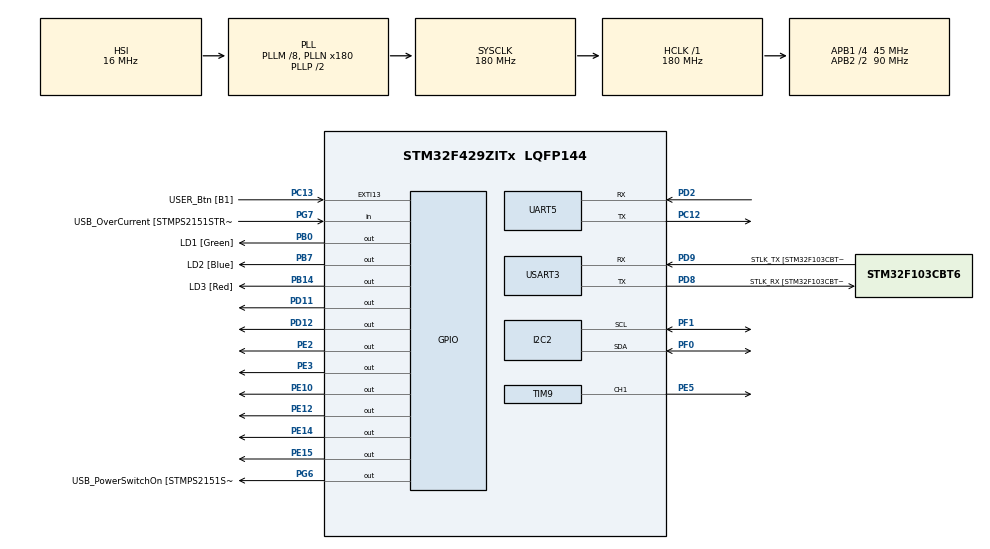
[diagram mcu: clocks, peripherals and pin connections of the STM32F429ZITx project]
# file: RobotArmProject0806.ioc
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Mcu.Family=STM32F4
Mcu.Name=STM32F429ZITx
Mcu.Package=LQFP144
NVIC.PriorityGroup=NVIC_PRIORITYGROUP_4
NVIC.TIM1_BRK_TIM9_IRQn=true\:0\:0\:false\:false\:true\:true\:true\:true
PA1.GPIO_Label=RMII_REF_CLK [LAN8742A-CZ-TR_REFCLK0]
PA1.Signal=ETH_REF_CLK
PA10.GPIO_Label=USB_ID
PA10.Signal=USB_OTG_FS_ID
PA11.GPIO_Label=USB_DM
PA11.Signal=USB_OTG_FS_DM
PA12.GPIO_Label=USB_DP
PA12.Signal=USB_OTG_FS_DP
PA13.GPIO_Label=TMS
PA13.Mode=Serial_Wire
PA13.Signal=SYS_JTMS-SWDIO
PA14.GPIO_Label=TCK
PA14.Mode=Serial_Wire
PA14.Signal=SYS_JTCK-SWCLK
PA2.GPIO_Label=RMII_MDIO [LAN8742A-CZ-TR_MDIO]
PA2.Signal=ETH_MDIO
PA7.GPIO_Label=RMII_CRS_DV [LAN8742A-CZ-TR_CRS_DV]
PA7.Signal=ETH_CRS_DV
PA8.GPIO_Label=USB_SOF [TP1]
PA8.Signal=USB_OTG_FS_SOF
PA9.GPIO_Label=USB_VBUS
PA9.Signal=USB_OTG_FS_VBUS
PB0.GPIO_Label=LD1 [Green]
PB0.Signal=GPIO_Output
PB13.GPIO_Label=RMII_TXD1 [LAN8742A-CZ-TR_TXD1]
PB13.Signal=ETH_TXD1
PB14.GPIO_Label=LD3 [Red]
PB14.Signal=GPIO_Output
PB7.GPIO_Label=LD2 [Blue]
PB7.Signal=GPIO_Output
PC1.GPIO_Label=RMII_MDC [LAN8742A-CZ-TR_MDC]
PC1.Signal=ETH_MDC
PC12.Mode=Asynchronous
PC12.Signal=UART5_TX
PC13.GPIO_Label=USER_Btn [B1]
PC13.Signal=GPXTI13
PC14/OSC32_IN.Mode=LSE-External-Oscillator
PC14/OSC32_IN.Signal=RCC_OSC32_IN
PC15/OSC32_OUT.Mode=LSE-External-Oscillator
PC15/OSC32_OUT.Signal=RCC_OSC32_OUT
PC4.GPIO_Label=RMII_RXD0 [LAN8742A-CZ-TR_RXD0]
PC4.Signal=ETH_RXD0
PC5.GPIO_Label=RMII_RXD1 [LAN8742A-CZ-TR_RXD1]
PC5.Signal=ETH_RXD1
PD11.Signal=GPIO_Output
PD12.Signal=GPIO_Output
PD2.Mode=Asynchronous
PD2.Signal=UART5_RX
PD8.GPIO_Label=STLK_RX [STM32F103CBT6_PA3]
PD8.Mode=Asynchronous
PD8.Signal=USART3_TX
PD9.GPIO_Label=STLK_TX [STM32F103CBT6_PA2]
PD9.Mode=Asynchronous
PD9.Signal=USART3_RX
PE10.Signal=GPIO_Output
PE12.Signal=GPIO_Output
PE14.Signal=GPIO_Output
PE15.Signal=GPIO_Output
PE2.Signal=GPIO_Output
PE3.Signal=GPIO_Output
PE5.Signal=S_TIM9_CH1
PF0.Mode=I2C
PF0.Signal=I2C2_SDA
PF1.Mode=I2C
PF1.Signal=I2C2_SCL
PG11.GPIO_Label=RMII_TX_EN [LAN8742A-CZ-TR_TXEN]
PG11.Signal=ETH_TX_EN
PG13.GPIO_Label=RMII_TXD0 [LAN8742A-CZ-TR_TXD0]
PG13.Signal=ETH_TXD0
PG6.GPIO_Label=USB_PowerSwitchOn [STMPS2151STR_EN]
PG6.Signal=GPIO_Output
PG7.GPIO_Label=USB_OverCurrent [STMPS2151STR_FAULT]
PG7.Signal=GPIO_Input
PH0/OSC_IN.GPIO_Label=MCO [STM32F103CBT6_PA8]
PH0/OSC_IN.Signal=RCC_OSC_IN
ProjectManager.HeapSize=0x200
ProjectManager.StackSize=0x400
ProjectManager.TargetToolchain=MDK-ARM V5.32
RCC.48MHZClocksFreq_Value=51428571.428571425
RCC.AHBFreq_Value=180000000
RCC.APB1CLKDivider=RCC_HCLK_DIV4
RCC.APB1Freq_Value=45000000
RCC.APB1TimFreq_Value=90000000
RCC.APB2CLKDivider=RCC_HCLK_DIV2
RCC.APB2Freq_Value=90000000
RCC.APB2TimCLKDivider=2
RCC.APB2TimFreq_Value=180000000
RCC.CortexFreq_Value=180000000
RCC.HCLKFreq_Value=180000000
RCC.HSE_VALUE=8000000
RCC.HSI_VALUE=16000000
RCC.PLLM=8
RCC.PLLMUL=RCC_PLL_MUL9
RCC.PLLN=180
RCC.PLLQ=7
RCC.PRESCALERUSB=RCC_USBCLKSOURCE_PLL_DIV1_5
RCC.SYSCLKFreq_VALUE=180000000
RCC.SYSCLKSource=RCC_SYSCLKSOURCE_PLLCLK
RCC.SYSCLKSourceVirtual=RCC_SYSCLKSOURCE_PLLCLK
RCC.USBFreq_Value=48000000
RCC.VCOOutputFreq_Value=360000000
SH.S_TIM9_CH1.0=TIM9_CH1,PWM Generation1 CH1
TIM9.Channel-PWM\ Generation1\ CH1=TIM_CHANNEL_1
TIM9.Period=10000-1
TIM9.Prescaler=84-1
TIM9.Pulse-PWM\ Generation1\ CH1=5000
UART5.VirtualMode=Asynchronous
USART3.VirtualMode=VM_ASYNC
VP_RTC_VS_RTC_Activate.Mode=RTC_Enabled
VP_TIM9_VS_ClockSourceINT.Mode=Internal
board=NUCLEO-F429ZI

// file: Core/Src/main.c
/* USER CODE BEGIN Header */
/**
  ******************************************************************************
  * @file           : main.c
  * @brief          : Main program body
  ******************************************************************************
  * @attention
  *
  * Copyright (c) 2022 STMicroelectronics.
  * All rights reserved.
  *
  * This software is licensed under terms that can be found in the LICENSE file
  * in the root directory of this software component.
  * If no LICENSE file comes with this software, it is provided AS-IS.
  *
  ******************************************************************************
  */
/* USER CODE END Header */
#include "main.h"

/* USER CODE BEGIN Includes */
#include "pca9685.h"

/* USER CODE END Includes */

I2C_HandleTypeDef hi2c2;

RTC_HandleTypeDef hrtc;

TIM_HandleTypeDef htim9;

UART_HandleTypeDef huart5;
UART_HandleTypeDef huart3;

/* USER CODE BEGIN PV */
#define DcMotor1Enable() HAL_GPIO_WritePin(GPIOE, GPIO_PIN_2,0)
#define DcMotor1Disable() HAL_GPIO_WritePin(GPIOE, GPIO_PIN_2,1)
#define DcMotor1DirCw() HAL_GPIO_WritePin(GPIOE, GPIO_PIN_3,0)
#define DcMotor1DirCcw() HAL_GPIO_WritePin(GPIOE, GPIO_PIN_3,1)

#define DcPIND_11ON() HAL_GPIO_WritePin(GPIOD, GPIO_PIN_11,1)
#define DcPIND_11OFF() HAL_GPIO_WritePin(GPIOD, GPIO_PIN_11,0)
#define DcPIND_12ON() HAL_GPIO_WritePin(GPIOD, GPIO_PIN_12,1)
#define DcPIND_12OFF() HAL_GPIO_WritePin(GPIOD, GPIO_PIN_12,0)

uint8_t ActiveServo; // add 0723

/* USER CODE END PV */

void SystemClock_Config(void);
static void MX_GPIO_Init(void);
static void MX_I2C2_Init(void);
static void MX_RTC_Init(void);
static void MX_TIM9_Init(void);
static void MX_UART5_Init(void);
static void MX_USART3_UART_Init(void);

int main(void)
{

  /* MCU Configuration--------------------------------------------------------*/

  /* Reset of all peripherals, Initializes the Flash interface and the Systick. */
  HAL_Init();

  /* Configure the system clock */
  SystemClock_Config();

  /* Initialize all configured peripherals */
  MX_GPIO_Init();
  MX_I2C2_Init();
  MX_RTC_Init();
  MX_TIM9_Init();
  MX_UART5_Init();
  MX_USART3_UART_Init();
  /* USER CODE BEGIN 2 */
  uint8_t data;
  HAL_TIM_PWM_Start(&htim9, TIM_CHANNEL_1);
  PCA9685_Init(&hi2c2); //add 0723
  PCA9685_SetServoAngle(0, 0); //add 0723
  PCA9685_SetServoAngle(1, 0); //add 0723
  PCA9685_SetServoAngle(2, 0); //add 0723
  HAL_Delay(1000); // add 0723
  HAL_GPIO_WritePin (GPIOE, GPIO_PIN_10, GPIO_PIN_RESET);   // IN1 HIGH
  HAL_GPIO_WritePin (GPIOE, GPIO_PIN_12, GPIO_PIN_RESET);
  HAL_GPIO_WritePin (GPIOE, GPIO_PIN_14, GPIO_PIN_RESET);
  HAL_GPIO_WritePin (GPIOE, GPIO_PIN_15, GPIO_PIN_RESET);

  /* USER CODE END 2 */

  /* Infinite loop */
  /* USER CODE BEGIN WHILE */
  while (1)
  {

			// for go
			DcMotor1DirCw(); // AIN -> 0 // dc sipza driver
      			DcMotor1Disable(); // Bin->1 // dc sipza driver

			//HAL_Delay(5000);
		  	// for stop
			//DcMotor1Disable(); // 1
			//DcMotor1DirCcw();  // 1
			//HAL_Delay(500);

			// for pwm
			TIM9->CCR1=2150; // -> 3500~4000 dc motor pwm for NasaDrive
			//////////////////////////////////////////

		// for go about conveyor
		DcPIND_11ON(); // PIN 11 ON
		DcPIND_12OFF(); // PIN 12 OFF
		HAL_Delay(2000);
		// for stop about conveyor
		DcPIND_11ON();
		DcPIND_12ON();
		HAL_Delay(2000);

		//for uart
		HAL_UART_Receive(&huart5, &data, sizeof(data),10);

		if( data =='1')
		{

		  PCA9685_SetServoAngle(0, 30);
		  HAL_Delay(3000);
		  PCA9685_SetServoAngle(0, 50);
		  HAL_Delay(3000);
		  PCA9685_SetServoAngle(0, -70);
		  HAL_Delay(3000);
		}

		else if( data =='2')
		{
			///////
	  	}
		else if( data =='3' )
		{
			PCA9685_SetServoAngle(2, 60);
			HAL_Delay(3000);
			PCA9685_SetServoAngle(2, 90);
			HAL_Delay(3000);
		}

	for (int i=0; i<128; i++)   // for 360 deg rotation
	{
 		HAL_GPIO_WritePin (GPIOE, GPIO_PIN_10, GPIO_PIN_SET);   // IN1 HIGH
 		HAL_GPIO_WritePin (GPIOE, GPIO_PIN_12, GPIO_PIN_RESET);
 		HAL_GPIO_WritePin (GPIOE, GPIO_PIN_14, GPIO_PIN_RESET);
 		HAL_GPIO_WritePin (GPIOE, GPIO_PIN_15, GPIO_PIN_RESET);

 		HAL_Delay (2);

 		HAL_GPIO_WritePin (GPIOE, GPIO_PIN_10, GPIO_PIN_RESET);
 		HAL_GPIO_WritePin (GPIOE, GPIO_PIN_12, GPIO_PIN_SET);   // IN2 HIGH
 		HAL_GPIO_WritePin (GPIOE, GPIO_PIN_14, GPIO_PIN_RESET);
 		HAL_GPIO_WritePin (GPIOE, GPIO_PIN_15, GPIO_PIN_RESET);

 		HAL_Delay (2);

 		HAL_GPIO_WritePin (GPIOE, GPIO_PIN_10, GPIO_PIN_RESET);
 		HAL_GPIO_WritePin (GPIOE, GPIO_PIN_12, GPIO_PIN_RESET);
 		HAL_GPIO_WritePin (GPIOE, GPIO_PIN_14, GPIO_PIN_SET);   // IN3 HIGH
 		HAL_GPIO_WritePin (GPIOE, GPIO_PIN_15, GPIO_PIN_RESET);

 		HAL_Delay (2);

 		HAL_GPIO_WritePin (GPIOE, GPIO_PIN_10, GPIO_PIN_RESET);
 		HAL_GPIO_WritePin (GPIOE, GPIO_PIN_12, GPIO_PIN_RESET);
 		HAL_GPIO_WritePin (GPIOE, GPIO_PIN_14, GPIO_PIN_RESET);
 		HAL_GPIO_WritePin (GPIOE, GPIO_PIN_15, GPIO_PIN_SET);    // IN4 HIGH

 		HAL_Delay (2);
		}

		PCA9685_SetServoAngle(2, 60);
		HAL_Delay(3000);
		PCA9685_SetServoAngle(2, 90);
		HAL_Delay(3000);
		PCA9685_SetServoAngle(0, 50);
		HAL_Delay(3000);
		PCA9685_SetServoAngle(0, -70);
		HAL_Delay(3000);

	/////////////////////////////////////////

    /* USER CODE END WHILE */

  }
}

void SystemClock_Config(void)
{
  RCC_OscInitTypeDef RCC_OscInitStruct = {0};
  RCC_ClkInitTypeDef RCC_ClkInitStruct = {0};

  /** Configure the main internal regulator output voltage
  */
  __HAL_RCC_PWR_CLK_ENABLE();
  __HAL_PWR_VOLTAGESCALING_CONFIG(PWR_REGULATOR_VOLTAGE_SCALE1);

  /** Initializes the RCC Oscillators according to the specified parameters
  * in the RCC_OscInitTypeDef structure.
  */
  RCC_OscInitStruct.OscillatorType = RCC_OSCILLATORTYPE_HSI|RCC_OSCILLATORTYPE_LSI;
  RCC_OscInitStruct.HSIState = RCC_HSI_ON;
  RCC_OscInitStruct.HSICalibrationValue = RCC_HSICALIBRATION_DEFAULT;
  RCC_OscInitStruct.LSIState = RCC_LSI_ON;
  RCC_OscInitStruct.PLL.PLLState = RCC_PLL_ON;
  RCC_OscInitStruct.PLL.PLLSource = RCC_PLLSOURCE_HSI;
  RCC_OscInitStruct.PLL.PLLM = 8;
  RCC_OscInitStruct.PLL.PLLN = 180;
  RCC_OscInitStruct.PLL.PLLP = RCC_PLLP_DIV2;
  RCC_OscInitStruct.PLL.PLLQ = 7;
  if (HAL_RCC_OscConfig(&RCC_OscInitStruct) != HAL_OK)
  {
    Error_Handler();
  }

  /** Activate the Over-Drive mode
  */
  if (HAL_PWREx_EnableOverDrive() != HAL_OK)
  {
    Error_Handler();
  }

  /** Initializes the CPU, AHB and APB buses clocks
  */
  RCC_ClkInitStruct.ClockType = RCC_CLOCKTYPE_HCLK|RCC_CLOCKTYPE_SYSCLK
                              |RCC_CLOCKTYPE_PCLK1|RCC_CLOCKTYPE_PCLK2;
  RCC_ClkInitStruct.SYSCLKSource = RCC_SYSCLKSOURCE_PLLCLK;
  RCC_ClkInitStruct.AHBCLKDivider = RCC_SYSCLK_DIV1;
  RCC_ClkInitStruct.APB1CLKDivider = RCC_HCLK_DIV4;
  RCC_ClkInitStruct.APB2CLKDivider = RCC_HCLK_DIV2;

  if (HAL_RCC_ClockConfig(&RCC_ClkInitStruct, FLASH_LATENCY_5) != HAL_OK)
  {
    Error_Handler();
  }
}

static void MX_I2C2_Init(void)
{

  hi2c2.Instance = I2C2;
  hi2c2.Init.ClockSpeed = 100000;
  hi2c2.Init.DutyCycle = I2C_DUTYCYCLE_2;
  hi2c2.Init.OwnAddress1 = 0;
  hi2c2.Init.AddressingMode = I2C_ADDRESSINGMODE_7BIT;
  hi2c2.Init.DualAddressMode = I2C_DUALADDRESS_DISABLE;
  hi2c2.Init.OwnAddress2 = 0;
  hi2c2.Init.GeneralCallMode = I2C_GENERALCALL_DISABLE;
  hi2c2.Init.NoStretchMode = I2C_NOSTRETCH_DISABLE;
  if (HAL_I2C_Init(&hi2c2) != HAL_OK)
  {
    Error_Handler();
  }

  /** Configure Analogue filter
  */
  if (HAL_I2CEx_ConfigAnalogFilter(&hi2c2, I2C_ANALOGFILTER_ENABLE) != HAL_OK)
  {
    Error_Handler();
  }

  /** Configure Digital filter
  */
  if (HAL_I2CEx_ConfigDigitalFilter(&hi2c2, 0) != HAL_OK)
  {
    Error_Handler();
  }

}

static void MX_RTC_Init(void)
{

  /** Initialize RTC Only
  */
  hrtc.Instance = RTC;
  hrtc.Init.HourFormat = RTC_HOURFORMAT_24;
  hrtc.Init.AsynchPrediv = 127;
  hrtc.Init.SynchPrediv = 255;
  hrtc.Init.OutPut = RTC_OUTPUT_DISABLE;
  hrtc.Init.OutPutPolarity = RTC_OUTPUT_POLARITY_HIGH;
  hrtc.Init.OutPutType = RTC_OUTPUT_TYPE_OPENDRAIN;
  if (HAL_RTC_Init(&hrtc) != HAL_OK)
  {
    Error_Handler();
  }

}

static void MX_TIM9_Init(void)
{

  TIM_ClockConfigTypeDef sClockSourceConfig = {0};
  TIM_OC_InitTypeDef sConfigOC = {0};

  htim9.Instance = TIM9;
  htim9.Init.Prescaler = 84-1;
  htim9.Init.CounterMode = TIM_COUNTERMODE_UP;
  htim9.Init.Period = 10000-1;
  htim9.Init.ClockDivision = TIM_CLOCKDIVISION_DIV1;
  htim9.Init.AutoReloadPreload = TIM_AUTORELOAD_PRELOAD_DISABLE;
  if (HAL_TIM_Base_Init(&htim9) != HAL_OK)
  {
    Error_Handler();
  }
  sClockSourceConfig.ClockSource = TIM_CLOCKSOURCE_INTERNAL;
  if (HAL_TIM_ConfigClockSource(&htim9, &sClockSourceConfig) != HAL_OK)
  {
    Error_Handler();
  }
  if (HAL_TIM_PWM_Init(&htim9) != HAL_OK)
  {
    Error_Handler();
  }
  sConfigOC.OCMode = TIM_OCMODE_PWM1;
  sConfigOC.Pulse = 5000;
  sConfigOC.OCPolarity = TIM_OCPOLARITY_HIGH;
  sConfigOC.OCFastMode = TIM_OCFAST_DISABLE;
  if (HAL_TIM_PWM_ConfigChannel(&htim9, &sConfigOC, TIM_CHANNEL_1) != HAL_OK)
  {
    Error_Handler();
  }
  HAL_TIM_MspPostInit(&htim9);

}

static void MX_UART5_Init(void)
{

  huart5.Instance = UART5;
  huart5.Init.BaudRate = 115200;
  huart5.Init.WordLength = UART_WORDLENGTH_8B;
  huart5.Init.StopBits = UART_STOPBITS_1;
  huart5.Init.Parity = UART_PARITY_NONE;
  huart5.Init.Mode = UART_MODE_TX_RX;
  huart5.Init.HwFlowCtl = UART_HWCONTROL_NONE;
  huart5.Init.OverSampling = UART_OVERSAMPLING_16;
  if (HAL_UART_Init(&huart5) != HAL_OK)
  {
    Error_Handler();
  }

}

static void MX_USART3_UART_Init(void)
{

  huart3.Instance = USART3;
  huart3.Init.BaudRate = 115200;
  huart3.Init.WordLength = UART_WORDLENGTH_8B;
  huart3.Init.StopBits = UART_STOPBITS_1;
  huart3.Init.Parity = UART_PARITY_NONE;
  huart3.Init.Mode = UART_MODE_TX_RX;
  huart3.Init.HwFlowCtl = UART_HWCONTROL_NONE;
  huart3.Init.OverSampling = UART_OVERSAMPLING_16;
  if (HAL_UART_Init(&huart3) != HAL_OK)
  {
    Error_Handler();
  }

}

static void MX_GPIO_Init(void)
{
  GPIO_InitTypeDef GPIO_InitStruct = {0};

  /* GPIO Ports Clock Enable */
  __HAL_RCC_GPIOE_CLK_ENABLE();
  __HAL_RCC_GPIOC_CLK_ENABLE();
  __HAL_RCC_GPIOF_CLK_ENABLE();
  __HAL_RCC_GPIOH_CLK_ENABLE();
  __HAL_RCC_GPIOA_CLK_ENABLE();
  __HAL_RCC_GPIOB_CLK_ENABLE();
  __HAL_RCC_GPIOD_CLK_ENABLE();
  __HAL_RCC_GPIOG_CLK_ENABLE();

  /*Configure GPIO pin Output Level */
  HAL_GPIO_WritePin(GPIOE, GPIO_PIN_2|GPIO_PIN_3|GPIO_PIN_10|GPIO_PIN_12
                          |GPIO_PIN_14|GPIO_PIN_15, GPIO_PIN_RESET);

  /*Configure GPIO pin Output Level */
  HAL_GPIO_WritePin(GPIOB, LD1_Pin|LD3_Pin|LD2_Pin, GPIO_PIN_RESET);

  /*Configure GPIO pin Output Level */
  HAL_GPIO_WritePin(GPIOD, GPIO_PIN_11|GPIO_PIN_12, GPIO_PIN_RESET);

  /*Configure GPIO pin Output Level */
  HAL_GPIO_WritePin(USB_PowerSwitchOn_GPIO_Port, USB_PowerSwitchOn_Pin, GPIO_PIN_RESET);

  /*Configure GPIO pins : PE2 PE3 PE10 PE12
                           PE14 PE15 */
  GPIO_InitStruct.Pin = GPIO_PIN_2|GPIO_PIN_3|GPIO_PIN_10|GPIO_PIN_12
                          |GPIO_PIN_14|GPIO_PIN_15;
  GPIO_InitStruct.Mode = GPIO_MODE_OUTPUT_PP;
  GPIO_InitStruct.Pull = GPIO_NOPULL;
  GPIO_InitStruct.Speed = GPIO_SPEED_FREQ_LOW;
  HAL_GPIO_Init(GPIOE, &GPIO_InitStruct);

  /*Configure GPIO pin : USER_Btn_Pin */
  GPIO_InitStruct.Pin = USER_Btn_Pin;
  GPIO_InitStruct.Mode = GPIO_MODE_IT_RISING;
  GPIO_InitStruct.Pull = GPIO_NOPULL;
  HAL_GPIO_Init(USER_Btn_GPIO_Port, &GPIO_InitStruct);

  /*Configure GPIO pins : RMII_MDC_Pin RMII_RXD0_Pin RMII_RXD1_Pin */
  GPIO_InitStruct.Pin = RMII_MDC_Pin|RMII_RXD0_Pin|RMII_RXD1_Pin;
  GPIO_InitStruct.Mode = GPIO_MODE_AF_PP;
  GPIO_InitStruct.Pull = GPIO_NOPULL;
  GPIO_InitStruct.Speed = GPIO_SPEED_FREQ_VERY_HIGH;
  GPIO_InitStruct.Alternate = GPIO_AF11_ETH;
  HAL_GPIO_Init(GPIOC, &GPIO_InitStruct);

  /*Configure GPIO pins : RMII_REF_CLK_Pin RMII_MDIO_Pin RMII_CRS_DV_Pin */
  GPIO_InitStruct.Pin = RMII_REF_CLK_Pin|RMII_MDIO_Pin|RMII_CRS_DV_Pin;
  GPIO_InitStruct.Mode = GPIO_MODE_AF_PP;
  GPIO_InitStruct.Pull = GPIO_NOPULL;
  GPIO_InitStruct.Speed = GPIO_SPEED_FREQ_VERY_HIGH;
  GPIO_InitStruct.Alternate = GPIO_AF11_ETH;
  HAL_GPIO_Init(GPIOA, &GPIO_InitStruct);

  /*Configure GPIO pins : LD1_Pin LD3_Pin LD2_Pin */
  GPIO_InitStruct.Pin = LD1_Pin|LD3_Pin|LD2_Pin;
  GPIO_InitStruct.Mode = GPIO_MODE_OUTPUT_PP;
  GPIO_InitStruct.Pull = GPIO_NOPULL;
  GPIO_InitStruct.Speed = GPIO_SPEED_FREQ_LOW;
  HAL_GPIO_Init(GPIOB, &GPIO_InitStruct);

  /*Configure GPIO pin : RMII_TXD1_Pin */
  GPIO_InitStruct.Pin = RMII_TXD1_Pin;
  GPIO_InitStruct.Mode = GPIO_MODE_AF_PP;
  GPIO_InitStruct.Pull = GPIO_NOPULL;
  GPIO_InitStruct.Speed = GPIO_SPEED_FREQ_VERY_HIGH;
  GPIO_InitStruct.Alternate = GPIO_AF11_ETH;
  HAL_GPIO_Init(RMII_TXD1_GPIO_Port, &GPIO_InitStruct);

  /*Configure GPIO pins : PD11 PD12 */
  GPIO_InitStruct.Pin = GPIO_PIN_11|GPIO_PIN_12;
  GPIO_InitStruct.Mode = GPIO_MODE_OUTPUT_PP;
  GPIO_InitStruct.Pull = GPIO_NOPULL;
  GPIO_InitStruct.Speed = GPIO_SPEED_FREQ_LOW;
  HAL_GPIO_Init(GPIOD, &GPIO_InitStruct);

  /*Configure GPIO pin : USB_PowerSwitchOn_Pin */
  GPIO_InitStruct.Pin = USB_PowerSwitchOn_Pin;
  GPIO_InitStruct.Mode = GPIO_MODE_OUTPUT_PP;
  GPIO_InitStruct.Pull = GPIO_NOPULL;
  GPIO_InitStruct.Speed = GPIO_SPEED_FREQ_LOW;
  HAL_GPIO_Init(USB_PowerSwitchOn_GPIO_Port, &GPIO_InitStruct);

  /*Configure GPIO pin : USB_OverCurrent_Pin */
  GPIO_InitStruct.Pin = USB_OverCurrent_Pin;
  GPIO_InitStruct.Mode = GPIO_MODE_INPUT;
  GPIO_InitStruct.Pull = GPIO_NOPULL;
  HAL_GPIO_Init(USB_OverCurrent_GPIO_Port, &GPIO_InitStruct);

  /*Configure GPIO pins : USB_SOF_Pin USB_ID_Pin USB_DM_Pin USB_DP_Pin */
  GPIO_InitStruct.Pin = USB_SOF_Pin|USB_ID_Pin|USB_DM_Pin|USB_DP_Pin;
  GPIO_InitStruct.Mode = GPIO_MODE_AF_PP;
  GPIO_InitStruct.Pull = GPIO_NOPULL;
  GPIO_InitStruct.Speed = GPIO_SPEED_FREQ_VERY_HIGH;
  GPIO_InitStruct.Alternate = GPIO_AF10_OTG_FS;
  HAL_GPIO_Init(GPIOA, &GPIO_InitStruct);

  /*Configure GPIO pin : USB_VBUS_Pin */
  GPIO_InitStruct.Pin = USB_VBUS_Pin;
  GPIO_InitStruct.Mode = GPIO_MODE_INPUT;
  GPIO_InitStruct.Pull = GPIO_NOPULL;
  HAL_GPIO_Init(USB_VBUS_GPIO_Port, &GPIO_InitStruct);

  /*Configure GPIO pins : RMII_TX_EN_Pin RMII_TXD0_Pin */
  GPIO_InitStruct.Pin = RMII_TX_EN_Pin|RMII_TXD0_Pin;
  GPIO_InitStruct.Mode = GPIO_MODE_AF_PP;
  GPIO_InitStruct.Pull = GPIO_NOPULL;
  GPIO_InitStruct.Speed = GPIO_SPEED_FREQ_VERY_HIGH;
  GPIO_InitStruct.Alternate = GPIO_AF11_ETH;
  HAL_GPIO_Init(GPIOG, &GPIO_InitStruct);

}

void Error_Handler(void)
{
  __disable_irq();
  while (1)
  {
  }
}
